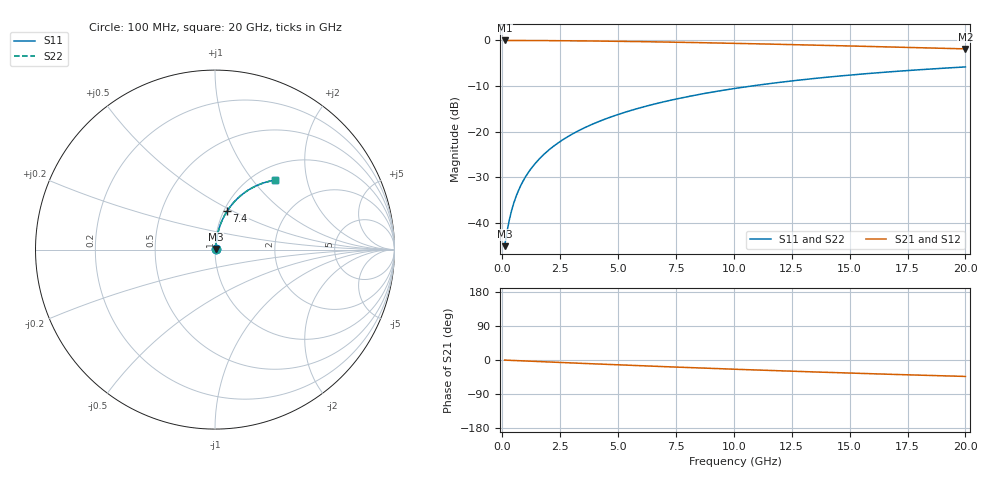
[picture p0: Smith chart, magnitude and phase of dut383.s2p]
! Touchstone file exported from HFSS 2024.1.0
!  File:  C:/UserFiles/LocalFiles/RDL_TSV_Batchsim/temp_RDL_top_383_1779609493.aedt
!  Generated:  04:00:46 PM May 24, 2026
!  Design:  RDL_top
!  Project:  temp_RDL_top_383_1779609493
!  Setup:  Setup1
!  Solution:  Sweep
! Variables:
!  dtsv = 10.80580581um
!  hbump = 3um
!  htsv = 63.72um
!  ldown = 100um
!  lrdl = 520.85um
!  p = 40
!  p1 = 58.04um
!  rhole = 1um
!  t = 450um
!  tdown = 3.915915916um
!  trdl = 3.6um
!  wdown = 15.38538539um
!  wrdl = 11.46um
# GHz S MA R 50.000000
! Terminal data exported
! Port[1] = Box2_T1
! Port[2] = Box2_T2
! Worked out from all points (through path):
!   200 points, 100 MHz to 20 GHz, reference 50 ohm
!   highest |S21| = -0.04 dB at 100 MHz (marker M1); lowest = -1.9 dB at 20 GHz (marker M2)
!   group delay of S21, straight-line fit = 6.03 ps
!   lowest |S11| = -45.1 dB at 100 MHz (marker M3), VSWR 1.01, Z = 50.5 + j0.322 ohm
!   |S11| at or under -10 dB: start of sweep to 10.8 GHz
!   |S22| runs from -45.1 to -5.8 dB; largest |S21 - S12| = 2e-15
!   S11 on the Smith chart (normalised r, x): 100 MHz: 1.01, +0.01; 7.4 GHz: 1.04, +0.47; 20 GHz: 1.25, +1.30
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0.1  0.005543 35.2  0.9955 -0.3  0.9955 -0.3  0.005543 35.2
! Gamma 0 0 0 0
! Port Impedance 50 0 50 0
0.2  0.007867 54.1  0.9954 -0.5  0.9954 -0.5  0.007867 54.1
0.3  0.01064 63.6  0.9953 -0.8  0.9953 -0.8  0.01064 63.6
0.4  0.01357 68.9  0.9952 -1.1  0.9952 -1.1  0.01357 68.9
0.5  0.01657 72.2  0.995 -1.3  0.995 -1.3  0.01657 72.2
0.6  0.01959 74.4  0.9949 -1.6  0.9949 -1.6  0.01959 74.4
0.8  0.02566 77.2  0.9945 -2.1  0.9945 -2.1  0.02566 77.2
1.1  0.03482 79.3  0.9939 -2.9  0.9939 -2.9  0.03482 79.3
1.5  0.04708 80.5  0.9929 -3.9  0.9929 -3.9  0.04708 80.5
1.8  0.0563 80.9  0.992 -4.7  0.992 -4.7  0.0563 80.9
2.1  0.06551 80.9  0.991 -5.4  0.991 -5.4  0.06551 80.9
2.7  0.08393 80.6  0.9886 -7.0  0.9886 -7.0  0.08393 80.6
3.5  0.1084 79.6  0.9844 -9.0  0.9844 -9.0  0.1084 79.6
4.2  0.1297 78.6  0.9801 -10.8  0.9801 -10.8  0.1297 78.6
5  0.1537 77.2  0.9744 -12.7  0.9744 -12.7  0.1537 77.2
6.8  0.2067 73.8  0.9592 -17.1  0.9592 -17.1  0.2068 73.8
7.4  0.224 72.6  0.9534 -18.5  0.9534 -18.5  0.224 72.6
8.7  0.2604 70.0  0.9402 -21.4  0.9402 -21.4  0.2604 70.0
10.1  0.2981 67.2  0.9248 -24.5  0.9248 -24.5  0.2981 67.2
13.4  0.3797 60.8  0.8859 -31.4  0.8859 -31.4  0.3797 60.8
16.7  0.4504 54.8  0.8453 -37.7  0.8453 -37.7  0.4504 54.8
20  0.5103 49.2  0.805 -43.4  0.805 -43.4  0.5104 49.2
